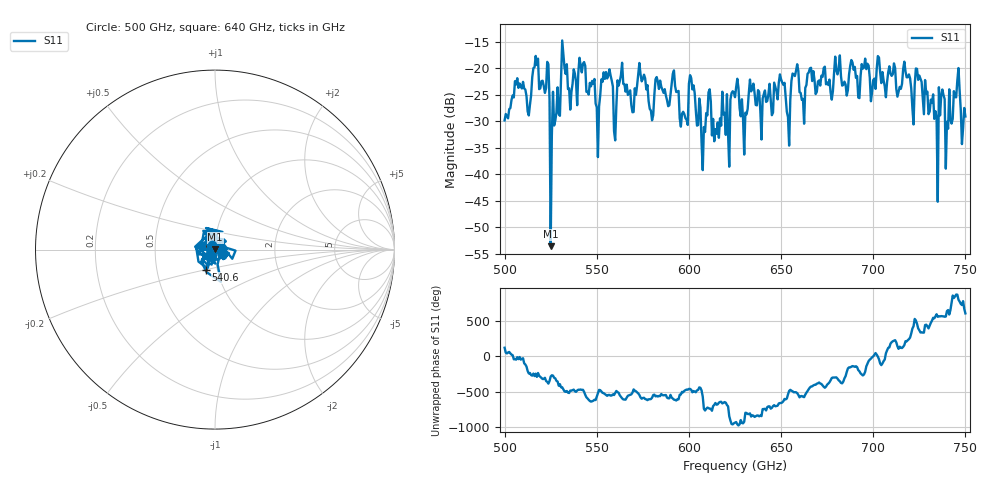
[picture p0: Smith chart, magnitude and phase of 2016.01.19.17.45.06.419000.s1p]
!Created with skrf (http://scikit-rf.org).
# GHz S RI R 50.0
!freq ReS11 ImS11
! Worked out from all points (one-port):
!   401 points, 500 GHz to 750 GHz, reference 50 ohm
!   lowest |S11| = -53.6 dB at 525 GHz (marker M1), VSWR 1.00, Z = 50.1 + j0.199 ohm
!   |S11| at or under -10 dB: start of sweep to end of sweep
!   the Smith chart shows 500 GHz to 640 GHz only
!   S11 on the Smith chart (normalised r, x): 500 GHz: 0.97, +0.05; 540.6 GHz: 0.88, -0.20; 640 GHz: 1.09, -0.05
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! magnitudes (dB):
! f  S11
! 500 GHz  -29.9
! 506.9 GHz  -21.9
! 513.1 GHz  -28.9
! 516.9 GHz  -17.7
! 523.1 GHz  -18.8
! 525 GHz  -53.6
! 526.2 GHz  -24.5
! 531.2 GHz  -14.8
! 540.6 GHz  -18.1
! 550.6 GHz  -36.8
! 553.8 GHz  -20.8
! 562.5 GHz  -22.4
! 593.8 GHz  -24.5
! 598.1 GHz  -29.5
! 601.2 GHz  -21.9
! 608.1 GHz  -31.1
! 610.6 GHz  -24.6
! 620.6 GHz  -24.9
! 625 GHz  -25.5
! 640 GHz  -25.7
! 650.6 GHz  -22.7
! 653.8 GHz  -29.3
! 656.2 GHz  -21.0
! 687.5 GHz  -19.6
! 718.8 GHz  -21.7
! 733.8 GHz  -28.1
! 745 GHz  -25.5
! 750 GHz  -29.1
